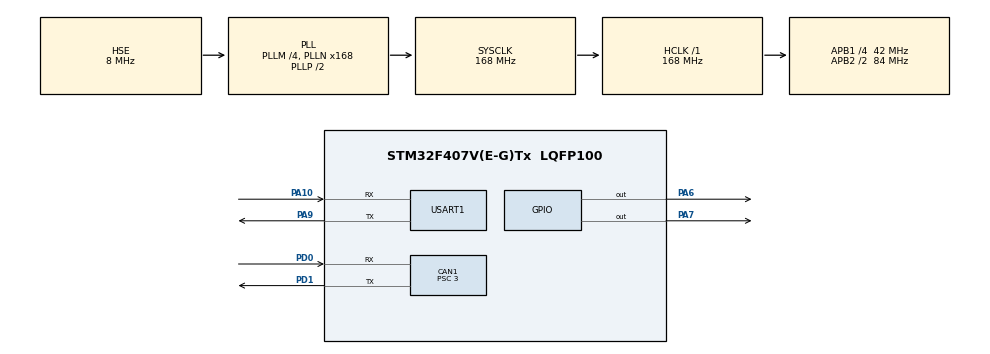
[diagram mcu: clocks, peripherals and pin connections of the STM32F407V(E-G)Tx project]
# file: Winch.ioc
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CAN1.BS1=CAN_BS1_11TQ
CAN1.BS2=CAN_BS2_2TQ
CAN1.CalculateBaudRate=1000000
CAN1.CalculateTimeBit=1000
CAN1.CalculateTimeQuantum=71.42857142857143
CAN1.Prescaler=3
Mcu.Family=STM32F4
Mcu.Name=STM32F407V(E-G)Tx
Mcu.Package=LQFP100
NVIC.CAN1_RX0_IRQn=true\:0\:0\:false\:false\:true\:true\:true\:true
NVIC.CAN1_RX1_IRQn=true\:0\:0\:false\:false\:true\:true\:true\:true
NVIC.PriorityGroup=NVIC_PRIORITYGROUP_4
NVIC.TIM6_DAC_IRQn=true\:0\:0\:false\:false\:true\:true\:true\:true
NVIC.USART1_IRQn=true\:0\:0\:false\:false\:true\:true\:true\:true
PA10.Mode=Asynchronous
PA10.Signal=USART1_RX
PA13.Mode=Serial_Wire
PA13.Signal=SYS_JTMS-SWDIO
PA14.Mode=Serial_Wire
PA14.Signal=SYS_JTCK-SWCLK
PA6.PinState=GPIO_PIN_SET
PA6.Signal=GPIO_Output
PA7.PinState=GPIO_PIN_SET
PA7.Signal=GPIO_Output
PA9.Mode=Asynchronous
PA9.Signal=USART1_TX
PD0.Mode=CAN_Activate
PD0.Signal=CAN1_RX
PD1.Mode=CAN_Activate
PD1.Signal=CAN1_TX
PH0-OSC_IN.Mode=HSE-External-Oscillator
PH0-OSC_IN.Signal=RCC_OSC_IN
PH1-OSC_OUT.Mode=HSE-External-Oscillator
PH1-OSC_OUT.Signal=RCC_OSC_OUT
ProjectManager.HeapSize=0x200
ProjectManager.StackSize=0x400
ProjectManager.TargetToolchain=STM32CubeIDE
RCC.48MHZClocksFreq_Value=84000000
RCC.AHBFreq_Value=168000000
RCC.APB1CLKDivider=RCC_HCLK_DIV4
RCC.APB1Freq_Value=42000000
RCC.APB1TimFreq_Value=84000000
RCC.APB2CLKDivider=RCC_HCLK_DIV2
RCC.APB2Freq_Value=84000000
RCC.APB2TimFreq_Value=168000000
RCC.CortexFreq_Value=168000000
RCC.HCLKFreq_Value=168000000
RCC.HSE_VALUE=8000000
RCC.HSI_VALUE=16000000
RCC.LSE_VALUE=32768
RCC.PLLM=4
RCC.PLLN=168
RCC.PLLSourceVirtual=RCC_PLLSOURCE_HSE
RCC.SYSCLKFreq_VALUE=168000000
RCC.SYSCLKSource=RCC_SYSCLKSOURCE_PLLCLK
RCC.VCOOutputFreq_Value=336000000
TIM6.AutoReloadPreload=TIM_AUTORELOAD_PRELOAD_DISABLE
TIM6.Period=99
TIM6.Prescaler=8399
USART1.VirtualMode=VM_ASYNC
VP_TIM6_VS_ClockSourceINT.Mode=Enable_Timer
board=custom

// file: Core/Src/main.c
/* USER CODE BEGIN Header */
/**
  ******************************************************************************
  * @file           : main.c
  * @brief          : Main program body
  ******************************************************************************
  * @attention
  *
  * Copyright (c) 2024 STMicroelectronics.
  * All rights reserved.
  *
  * This software is licensed under terms that can be found in the LICENSE file
  * in the root directory of this software component.
  * If no LICENSE file comes with this software, it is provided AS-IS.
  *
  ******************************************************************************
  */
/* USER CODE END Header */
#include "main.h"

/* USER CODE BEGIN PTD */
#define RX_BUFFER_SIZE 10
int16_t _cur2;
extern float velocity_outshaft;
extern SpeedControllerFeedback feedback;
uint8_t rxBuffer[RX_BUFFER_SIZE];
bool _flag_rx=0;
bool run = 0;
PID_PARA pid;
float set;
bool start = 0;
/* USER CODE END PTD */

CAN_HandleTypeDef hcan1;
TIM_HandleTypeDef htim6;
UART_HandleTypeDef huart1;

void SystemClock_Config(void);
static void MX_GPIO_Init(void);
static void MX_CAN1_Init(void);
static void MX_TIM6_Init(void);
static void MX_USART1_UART_Init(void);

/* USER CODE BEGIN 0 */

void HAL_UART_RxCpltCallback(UART_HandleTypeDef *huart)
{
    if (huart->Instance == USART1)
    {
        _flag_rx=1;
        HAL_UART_Receive_IT(&huart1, (uint8_t*) rxBuffer, RX_BUFFER_SIZE);
    }
}
void HAL_UART_TxCpltCallback(UART_HandleTypeDef *huart)
{
	HAL_GPIO_TogglePin(GPIOA, GPIO_PIN_6);
}
void HAL_TIM_PeriodElapsedCallback(TIM_HandleTypeDef *htim)
{
    if (htim->Instance == TIM6)
    {
    	char buffer[30];
    	int length = snprintf(buffer, sizeof(buffer), "%d@%d#", (uint16_t)velocity_outshaft, feedback.current_mA);

         if (length < 0 || length >= sizeof(buffer))
         {
             HAL_GPIO_TogglePin(GPIOA, GPIO_PIN_6); // Có thể thay đổi logic nếu cần
         }
         else
         {
             if (HAL_UART_Transmit(&huart1, (uint8_t*)buffer, length, 1000) != HAL_OK)
             {
                 HAL_GPIO_TogglePin(GPIOA, GPIO_PIN_7); // Bật/tắt pin trong trư�?ng hợp lỗi truy�?n
             }
         }
        start=1;
    }
}
void process()
{
    char *token;
    if(strlen((const char *)rxBuffer) < 2)
     {
        if (rxBuffer[0] == '0')
        {
        	 run=1;
        	 HAL_TIM_Base_Start_IT(&htim6);
        }
        else if (rxBuffer[0] == '1')
        {
            _cur2=0;
            run=0;
            HAL_TIM_Base_Stop(&htim6);
        }
     }
    else
    {
    	if (strchr((const char *)rxBuffer, ';') != NULL)
    	{
    		token = strtok((char *)rxBuffer, ";");
			if (token != NULL)
			{
				_cur2 = atof(token);
			}
    	}

    }
}
void clear()
{
	memset(rxBuffer, 0, sizeof(rxBuffer));
}

/* USER CODE END 0 */

int main(void)
{

  /* MCU Configuration--------------------------------------------------------*/

  /* Reset of all peripherals, Initializes the Flash interface and the Systick. */
  HAL_Init();

  /* Configure the system clock */
  SystemClock_Config();

  /* Initialize all configured peripherals */
  MX_GPIO_Init();
  MX_CAN1_Init();
  MX_TIM6_Init();
  MX_USART1_UART_Init();
  /* USER CODE BEGIN 2 */
  HAL_CAN_Start(&hcan1);
  HAL_CAN_ActivateNotification(&hcan1, CAN_IT_RX_FIFO0_MSG_PENDING);
//  HAL_CAN_DeactivateNotification(&hcan1, CAN_IT_RX_FIFO0_MSG_PENDING);
  CAN_FilterConfig();
  HAL_UART_Receive_IT(&huart1, (uint8_t*) rxBuffer, RX_BUFFER_SIZE);
  memset(&feedback,0,sizeof(feedback));
//  HAL_TIM_Base_Start_IT(&htim6);
  PID_INIT(&pid,set,0.01,1000,0,7.582,16,0.038);
  /* USER CODE END 2 */

  /* Infinite loop */
  /* USER CODE BEGIN WHILE */
  while (1)
  {
	   if(_flag_rx==1)
	   {
		   //xu ly tai day
		   process();
		   clear();
		   _flag_rx=0;
	   }

	  if(start==1){
        PID_CONTROLLER(&pid,velocity_outshaft);
        _cur2=pid.output;
	    send_speed_controller_command(0,_cur2);
	    start=0;
	  }
    /* USER CODE END WHILE */

  }
}

void SystemClock_Config(void)
{
  RCC_OscInitTypeDef RCC_OscInitStruct = {0};
  RCC_ClkInitTypeDef RCC_ClkInitStruct = {0};

  /** Configure the main internal regulator output voltage
  */
  __HAL_RCC_PWR_CLK_ENABLE();
  __HAL_PWR_VOLTAGESCALING_CONFIG(PWR_REGULATOR_VOLTAGE_SCALE1);

  /** Initializes the RCC Oscillators according to the specified parameters
  * in the RCC_OscInitTypeDef structure.
  */
  RCC_OscInitStruct.OscillatorType = RCC_OSCILLATORTYPE_HSE;
  RCC_OscInitStruct.HSEState = RCC_HSE_ON;
  RCC_OscInitStruct.PLL.PLLState = RCC_PLL_ON;
  RCC_OscInitStruct.PLL.PLLSource = RCC_PLLSOURCE_HSE;
  RCC_OscInitStruct.PLL.PLLM = 4;
  RCC_OscInitStruct.PLL.PLLN = 168;
  RCC_OscInitStruct.PLL.PLLP = RCC_PLLP_DIV2;
  RCC_OscInitStruct.PLL.PLLQ = 4;
  if (HAL_RCC_OscConfig(&RCC_OscInitStruct) != HAL_OK)
  {
    Error_Handler();
  }

  /** Initializes the CPU, AHB and APB buses clocks
  */
  RCC_ClkInitStruct.ClockType = RCC_CLOCKTYPE_HCLK|RCC_CLOCKTYPE_SYSCLK
                              |RCC_CLOCKTYPE_PCLK1|RCC_CLOCKTYPE_PCLK2;
  RCC_ClkInitStruct.SYSCLKSource = RCC_SYSCLKSOURCE_PLLCLK;
  RCC_ClkInitStruct.AHBCLKDivider = RCC_SYSCLK_DIV1;
  RCC_ClkInitStruct.APB1CLKDivider = RCC_HCLK_DIV4;
  RCC_ClkInitStruct.APB2CLKDivider = RCC_HCLK_DIV2;

  if (HAL_RCC_ClockConfig(&RCC_ClkInitStruct, FLASH_LATENCY_5) != HAL_OK)
  {
    Error_Handler();
  }
}

static void MX_CAN1_Init(void)
{

  hcan1.Instance = CAN1;
  hcan1.Init.Prescaler = 3;
  hcan1.Init.Mode = CAN_MODE_NORMAL;
  hcan1.Init.SyncJumpWidth = CAN_SJW_1TQ;
  hcan1.Init.TimeSeg1 = CAN_BS1_11TQ;
  hcan1.Init.TimeSeg2 = CAN_BS2_2TQ;
  hcan1.Init.TimeTriggeredMode = DISABLE;
  hcan1.Init.AutoBusOff = DISABLE;
  hcan1.Init.AutoWakeUp = DISABLE;
  hcan1.Init.AutoRetransmission = DISABLE;
  hcan1.Init.ReceiveFifoLocked = DISABLE;
  hcan1.Init.TransmitFifoPriority = DISABLE;
  if (HAL_CAN_Init(&hcan1) != HAL_OK)
  {
    Error_Handler();
  }

}

static void MX_TIM6_Init(void)
{

  TIM_MasterConfigTypeDef sMasterConfig = {0};

  htim6.Instance = TIM6;
  htim6.Init.Prescaler = 8399;
  htim6.Init.CounterMode = TIM_COUNTERMODE_UP;
  htim6.Init.Period = 99;
  htim6.Init.AutoReloadPreload = TIM_AUTORELOAD_PRELOAD_DISABLE;
  if (HAL_TIM_Base_Init(&htim6) != HAL_OK)
  {
    Error_Handler();
  }
  sMasterConfig.MasterOutputTrigger = TIM_TRGO_RESET;
  sMasterConfig.MasterSlaveMode = TIM_MASTERSLAVEMODE_DISABLE;
  if (HAL_TIMEx_MasterConfigSynchronization(&htim6, &sMasterConfig) != HAL_OK)
  {
    Error_Handler();
  }

}

static void MX_USART1_UART_Init(void)
{

  huart1.Instance = USART1;
  huart1.Init.BaudRate = 115200;
  huart1.Init.WordLength = UART_WORDLENGTH_8B;
  huart1.Init.StopBits = UART_STOPBITS_1;
  huart1.Init.Parity = UART_PARITY_NONE;
  huart1.Init.Mode = UART_MODE_TX_RX;
  huart1.Init.HwFlowCtl = UART_HWCONTROL_NONE;
  huart1.Init.OverSampling = UART_OVERSAMPLING_16;
  if (HAL_UART_Init(&huart1) != HAL_OK)
  {
    Error_Handler();
  }

}

static void MX_GPIO_Init(void)
{
  GPIO_InitTypeDef GPIO_InitStruct = {0};

  /* GPIO Ports Clock Enable */
  __HAL_RCC_GPIOH_CLK_ENABLE();
  __HAL_RCC_GPIOA_CLK_ENABLE();
  __HAL_RCC_GPIOD_CLK_ENABLE();

  /*Configure GPIO pin Output Level */
  HAL_GPIO_WritePin(GPIOA, GPIO_PIN_6|GPIO_PIN_7, GPIO_PIN_SET);

  /*Configure GPIO pins : PA6 PA7 */
  GPIO_InitStruct.Pin = GPIO_PIN_6|GPIO_PIN_7;
  GPIO_InitStruct.Mode = GPIO_MODE_OUTPUT_PP;
  GPIO_InitStruct.Pull = GPIO_NOPULL;
  GPIO_InitStruct.Speed = GPIO_SPEED_FREQ_LOW;
  HAL_GPIO_Init(GPIOA, &GPIO_InitStruct);

}

void Error_Handler(void)
{
  __disable_irq();
  while (1)
  {
  }
}
